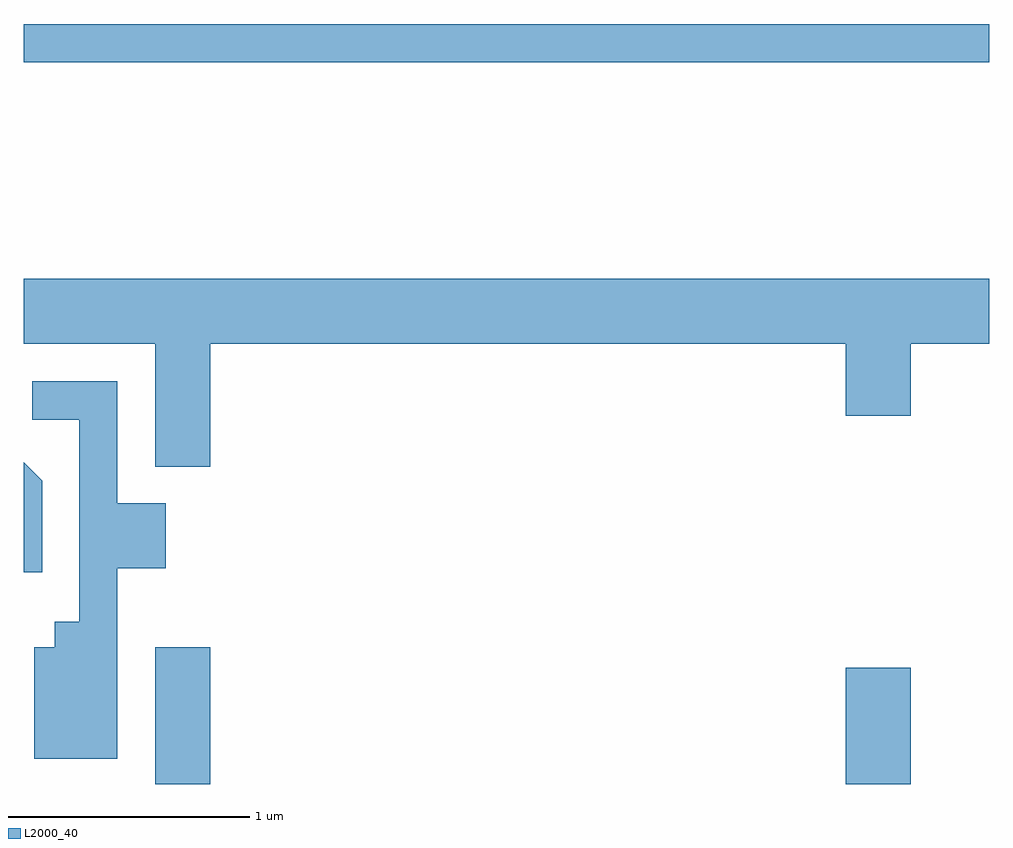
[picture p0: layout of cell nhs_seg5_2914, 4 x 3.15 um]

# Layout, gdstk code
import gdstk
lib = gdstk.Library(unit=1e-6, precision=1e-09)
def R(c, l, rs):  # rectangles x0, y0, x1, y1
    for r in rs: c.add(gdstk.rectangle(r[:2], r[2:], *l))
def P(c, l, *ps):  # polygons
    for p in ps: c.add(gdstk.Polygon(p, *l))
L2000_40 = (2000, 40)

nhs_seg5_2914 = lib.new_cell('nhs_seg5_2914')
R(nhs_seg5_2914, L2000_40, [(272.156,1466.072,272.384,1466.639), (275.016,1466.072,275.284,1466.554), (271.611,1469.061,275.611,1469.219)])
P(nhs_seg5_2914, L2000_40, [(272.384,1467.896),(275.016,1467.896),(275.016,1467.596),(275.284,1467.596),(275.284,1467.896),(275.611,1467.896),(275.611,1468.164),(271.611,1468.164),(271.611,1467.896),(272.156,1467.896),(272.156,1467.386),(272.384,1467.386)],
  [(271.999,1466.966),(272.199,1466.966),(272.199,1467.234),(271.999,1467.234),(271.999,1467.739),(271.648,1467.739),(271.648,1467.581),(271.841,1467.581),(271.841,1466.744),(271.741,1466.744),(271.741,1466.639),(271.656,1466.639),(271.656,1466.176),(271.999,1466.176)],
  [(271.689,1467.327),(271.611,1467.405),(271.611,1466.948),(271.689,1466.948)])

lib.write_gds('nhs_seg5_2914.gds')
